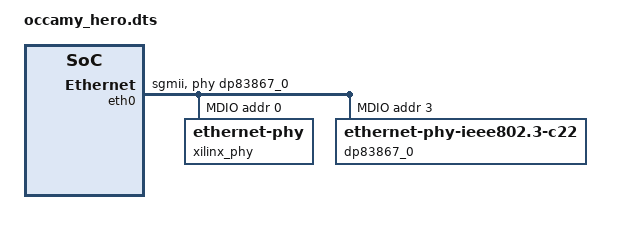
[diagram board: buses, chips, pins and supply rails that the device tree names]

/include/ "occamy.dts"

/ {
  // Create a reserved memory region for Snitch program memory
  reserved-memory {
    #address-cells = <2>;
    #size-cells = <2>;
    ranges;
    snitch_mem: buffer@c0000000 {
        reg = <0x0 0xc0000000 0x0 0x10000000>;
    };
  };
  soc {
    eth_dma0: eth_dma@4d000000 {
      #dma-cells = <1>;
      #address-cells = <1>;
      #size-cells = <1>;
      compatible = "xlnx,axi-dma-1.00.a";
      reg = <0x0 0x4d000000 0x0 0x10000>;
      interrupts-extended = <&PLIC0 3 &PLIC0 4>;
      xlnx,addrwidth = <0x40>;
      xlnx,include-sg;
      dma-channel@4d000000 {
        compatible = "xlnx,axi-dma-mm2s-channel";
        reg = <0 0>;
        dma-channels = <0x1>;
        interrupts-extended = <&PLIC0 3>;
        xlnx,datawidth = <0x20>;
        xlnx,device-id = <0x0>;
        xlnx,include-dre ;
      };
      dma-channel@4d000030 {
        compatible = "xlnx,axi-dma-s2mm-channel";
        reg = <0 0>;
        dma-channels = <0x1>;
        interrupts-extended = <&PLIC0 4>;
        xlnx,datawidth = <0x20>;
        xlnx,device-id = <0x0>;
        xlnx,include-dre ;
      };
    };
    eth0: eth0@4c400000 {
      compatible = "xlnx,axi-ethernet-1.00.a";
      reg = <0x0 0x4c400000 0x0 0x40000>;
      // attacked to system clock, provide name for matching
      clocks = <&sysclk>, <&sysclk>;
      clock-names = "s_axi_lite_clk", "axis_clk";
      // interrupt and mac_irq
      interrupts-extended = <&PLIC0 1 &PLIC0 6>;
      // local-mac-address = [ 00 0A 35 04 E1 60 ]; // hero-vcu128-01
      local-mac-address = [ 00 0A 35 04 E1 52 ]; // hero-vcu128-02
      mac-address = [ 00 0A 35 04 E1 52 ];
      device_type = "network";
      axistream-connected = <&eth_dma0>;
      axistream-control-connected = <&eth_dma0>;
      phy-handle = <&dp83867_0>;
      // xlnx,phy-type = <0x4>; // XAE_PHY_TYPE_SGMII. linux: deprecated, use phy-mode
      phy-mode = "sgmii";
      xlnx,phyaddr = <0x0>;
      xlnx,rxcsum = <0x2>; // 0, 1, 2 for no/partial/full offloading
      xlnx,rxmem = <0x1000>;
      xlnx,txcsum = <0x2>; // 0, 1, 2 for no/partial/full offloading
      xlnx,txmem = <0x1000>;

      mdio: mdio {
        #address-cells = <1>;
        #size-cells = <0>;
        // reset-gpios = <&tca6416a 6 GPIO_ACTIVE_LOW>;
        // reset-delay-us = <2>;
        // PCS/PMA PHY
        xilinx_phy: ethernet-phy@0 {
          #phy-cells = <1>;
          device_type = "ethernet-phy";
          reg = <0>;
        };
        // External PHY
        dp83867_0: ethernet-phy@3 {
          compatible = "ethernet-phy-ieee802.3-c22";
          reg = <3>;
          #phy-cells = <1>;
          device_type = "ethernet-phy";
          ti,sgmii-ref-clock-output-enable;
          ti,dp83867-rxctrl-strap-quirk;
        };
      };
    };
    soc_ctl0: soc-control@2000000 {
      compatible = "eth,occamy-soc-control";
      reg-names = "soc-control";
      reg = <0x0 0x02000000 0x0 0x1000>;
    };
    quadrant_ctrl0: quadrant-control@b000000 {
      compatible = "eth,occamy-quadrant-control";
      reg-names = "quadrant-control";
      reg = <0x0 0x0b000000 0x0 0x10000>;
    };
    // Instantiate a snitch cluster
    snitch-cluster@10000000 {
      compatible = "eth,snitch-cluster";
      // TCDM and Peripheral spaces
      reg-names = "tcdm", "peripheral";
      reg = <0x0 0x10000000 0x0 0x20000>, <0x0 0x10020000 0x0 0x20000>;
      // points to a memory region reserved for use by the cluster
      memory-region = <&snitch_mem>;
      // cluster specific properties
      eth,compute-cores = <8>;
      eth,dm-cores = <1>;
      eth,quadrant-idx = <0>;
      eth,cluster-idx = <0>; // Used to calculate offsets in clint, soc-ctrl etc..
      // A handle to the soc-control register where isolates etc are located
      eth,soc-ctl = <&soc_ctl0>;
      // Handle to the associated quadrant controller
      eth,quadrant-ctrl = <&quadrant_ctrl0>;
      // handle to the clint where IPI interrupts are attached
      eth,clint = <&clint0>;
    };
  };
};
